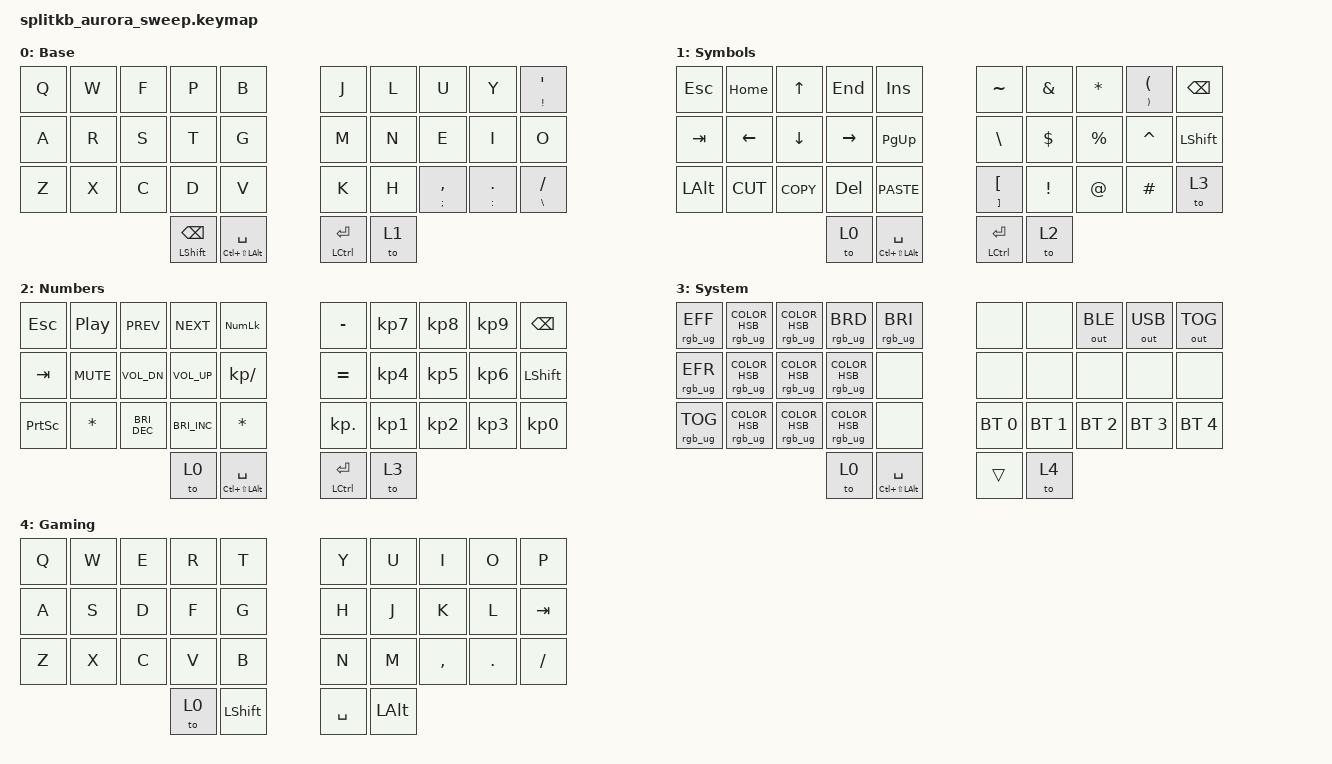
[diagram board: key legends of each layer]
/*
 * Copyright (c) 2022 The ZMK Contributors
 *
 * SPDX-License-Identifier: MIT
 */
//#include "../zmk-nodefree-config/helper.h"

#include <behaviors.dtsi>
#include <dt-bindings/zmk/bt.h>
#include <dt-bindings/zmk/keys.h>
#include <dt-bindings/zmk/outputs.h>
#include <dt-bindings/zmk/rgb.h>

&nice_view_spi { cs-gpios = <&gpio1 1 GPIO_ACTIVE_HIGH>; };

// euro sign
//ZMK_UNICODE_SINGLE(euro_sign, N2, N0, A, C)  // €
// 17 + 6 LEDs, from https://docs.splitkb.com/hc/en-us/articles/6485468787100-Aurora-Sweep-schematics

&led_strip { chain-length = <23>; };

&mt {
    //  flavor = "tap-preferred";
    // tapping_term_ms = <200>;
};

/ {
    behaviors {
        hm: homerow_mods {
            compatible = "zmk,behavior-hold-tap";
            label = "HOMEROW_MODS";
            #binding-cells = <2>;
            tapping-term-ms = <200>;
            quick_tap_ms = <0>;
            flavor = "tap-preferred";
            bindings = <&kp>, <&kp>;
        };

        td: tapdance {
            compatible = "zmk,behavior-hold-tap";
            label = "TAPDANCE";
            #binding-cells = <2>;
            tapping-term-ms = <150>;
            quick_tap_ms = <0>;
            flavor = "tap-preferred";
            bindings = <&kp>, <&kp>;
        };
    };

    combos {
        compatible = "zmk,combos";

        System {
            bindings = <&none>;
            key-positions = <30 33>;
            layers = <4>;
        };
    };

    keymap {
        compatible = "zmk,keymap";

        default_layer {
            label = "Base";
            bindings = <
&kp Q                 &kp W                       &kp F  &kp P  &kp B    &kp J  &kp L  &kp U           &kp Y            &td EXCLAMATION SQT
&kp A                 &kp R                       &kp S  &kp T  &kp G    &kp M  &kp N  &kp E           &kp I            &kp O
&kp Z                 &kp X                       &kp C  &kp D  &kp V    &kp K  &kp H  &td SEMI COMMA  &td COLON DOT    &td BACKSLASH SLASH
&mt LSHIFT BACKSPACE  &mt LC(LS(LEFT_ALT)) SPACE                                                       &mt LCTRL ENTER  &to 1
            >;
        };

        Symbols {
            label = "Symbols";
            bindings = <
&kp ESC       &kp HOME                    &kp UP      &kp END     &kp INS        &kp TILDE                       &kp AMPS         &kp STAR   &td RPAR LPAR    &kp BACKSPACE
&kp TAB       &kp LEFT                    &kp DOWN    &kp RIGHT   &kp PAGE_UP    &kp BSLH                        &kp DOLLAR       &kp PRCNT  &kp CARET        &kp LEFT_SHIFT
&kp LEFT_ALT  &kp K_CUT                   &kp K_COPY  &kp DELETE  &kp K_PASTE    &td RIGHT_BRACKET LEFT_BRACKET  &kp EXCLAMATION  &kp AT     &kp HASH         &to 3
&to 0         &mt LC(LS(LEFT_ALT)) SPACE                                                                                                     &mt LCTRL ENTER  &to 2
            >;
        };

        Numbers {
            label = "Numbers";
            bindings = <
&kp ESCAPE       &kp C_PP                    &kp C_PREV            &kp C_NEXT       &kp KP_NUMLOCK    &kp MINUS   &kp KP_NUMBER_7  &kp KP_NUMBER_8  &kp KP_NUMBER_9  &kp BACKSPACE
&kp TAB          &kp C_MUTE                  &kp C_VOL_DN          &kp C_VOLUME_UP  &kp KP_DIVIDE     &kp EQUAL   &kp KP_NUMBER_4  &kp KP_NUMBER_5  &kp KP_NUMBER_6  &kp LEFT_SHIFT
&kp PRINTSCREEN  &kp STAR                    &kp C_BRIGHTNESS_DEC  &kp C_BRI_INC    &kp STAR          &kp KP_DOT  &kp KP_NUMBER_1  &kp KP_NUMBER_2  &kp KP_NUMBER_3  &kp KP_NUMBER_0
&to 0            &mt LC(LS(LEFT_ALT)) SPACE                                                                                                         &mt LCTRL ENTER  &to 3
            >;
        };

        System {
            label = "System";
            bindings = <
&rgb_ug RGB_EFF  &rgb_ug RGB_COLOR_HSB(0,96,50)     &rgb_ug RGB_COLOR_HSB(188,100,50)  &rgb_ug RGB_BRD                   &rgb_ug RGB_BRI    &none         &none         &out OUT_BLE  &out OUT_USB  &out OUT_TOG
&rgb_ug RGB_EFR  &rgb_ug RGB_COLOR_HSB(118,100,50)  &rgb_ug RGB_COLOR_HSB(60,100,50)   &rgb_ug RGB_COLOR_HSB(160,99,50)  &none              &none         &none         &none         &none         &none
&rgb_ug RGB_TOG  &rgb_ug RGB_COLOR_HSB(254,100,50)  &rgb_ug RGB_COLOR_HSB(307,100,50)  &rgb_ug RGB_COLOR_HSB(35,100,50)  &none              &bt BT_SEL 0  &bt BT_SEL 1  &bt BT_SEL 2  &bt BT_SEL 3  &bt BT_SEL 4
&to 0            &mt LC(LS(LEFT_ALT)) SPACE                                                                                                                                           &trans        &to 4
            >;
        };

        Qwerty {
            label = "Gaming";
            bindings = <
&kp Q  &kp W           &kp E  &kp R  &kp T    &kp Y  &kp U  &kp I      &kp O      &kp P
&kp A  &kp S           &kp D  &kp F  &kp G    &kp H  &kp J  &kp K      &kp L      &kp TAB
&kp Z  &kp X           &kp C  &kp V  &kp B    &kp N  &kp M  &kp COMMA  &kp DOT    &kp FSLH
&to 0  &kp LEFT_SHIFT                                                  &kp SPACE  &kp LEFT_ALT
            >;
        };
    };
};
